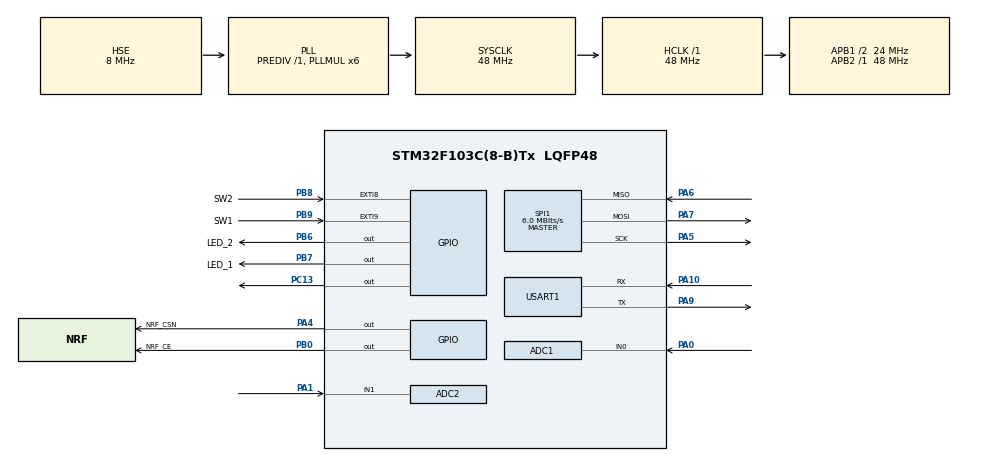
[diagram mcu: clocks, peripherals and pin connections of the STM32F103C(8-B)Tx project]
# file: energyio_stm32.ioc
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ADC1.Channel-11\#ChannelRegularConversion=ADC_CHANNEL_0
ADC1.NbrOfConversionFlag=1
ADC1.Rank-11\#ChannelRegularConversion=1
ADC1.SamplingTime-11\#ChannelRegularConversion=ADC_SAMPLETIME_71CYCLES_5
ADC1.master=1
ADC2.Channel-1\#ChannelRegularConversion=ADC_CHANNEL_1
ADC2.NbrOfConversion=1
ADC2.NbrOfConversionFlag=1
ADC2.Rank-1\#ChannelRegularConversion=1
ADC2.SamplingTime-1\#ChannelRegularConversion=ADC_SAMPLETIME_71CYCLES_5
Mcu.Family=STM32F1
Mcu.Name=STM32F103C(8-B)Tx
Mcu.Package=LQFP48
NVIC.ADC1_2_IRQn=true\:0\:0\:false\:false\:true\:true\:true
NVIC.EXTI9_5_IRQn=true\:0\:0\:false\:false\:true\:true\:true
NVIC.PriorityGroup=NVIC_PRIORITYGROUP_4
NVIC.TIM2_IRQn=true\:0\:0\:false\:false\:true\:true\:true
PA0-WKUP.Signal=ADCx_IN0
PA1.Signal=ADCx_IN1
PA10.Mode=Asynchronous
PA10.Signal=USART1_RX
PA13.Mode=Serial_Wire
PA13.Signal=SYS_JTMS-SWDIO
PA14.Mode=Serial_Wire
PA14.Signal=SYS_JTCK-SWCLK
PA4.GPIO_Label=NRF_CSN
PA4.Signal=GPIO_Output
PA5.Mode=Full_Duplex_Master
PA5.Signal=SPI1_SCK
PA6.Mode=Full_Duplex_Master
PA6.Signal=SPI1_MISO
PA7.Mode=Full_Duplex_Master
PA7.Signal=SPI1_MOSI
PA9.Mode=Asynchronous
PA9.Signal=USART1_TX
PB0.GPIO_Label=NRF_CE
PB0.Signal=GPIO_Output
PB6.GPIO_Label=LED_2
PB6.PinState=GPIO_PIN_SET
PB6.Signal=GPIO_Output
PB7.GPIO_Label=LED_1
PB7.PinState=GPIO_PIN_SET
PB7.Signal=GPIO_Output
PB8.GPIO_Label=SW2
PB8.GPIO_ModeDefaultEXTI=GPIO_MODE_IT_FALLING
PB8.GPIO_PuPd=GPIO_PULLUP
PB8.Signal=GPXTI8
PB9.GPIO_Label=SW1
PB9.GPIO_ModeDefaultEXTI=GPIO_MODE_IT_FALLING
PB9.GPIO_PuPd=GPIO_PULLUP
PB9.Signal=GPXTI9
PC13-TAMPER-RTC.Signal=GPIO_Output
PD0-OSC_IN.Mode=HSE-External-Oscillator
PD0-OSC_IN.Signal=RCC_OSC_IN
PD1-OSC_OUT.Mode=HSE-External-Oscillator
PD1-OSC_OUT.Signal=RCC_OSC_OUT
ProjectManager.HeapSize=0x200
ProjectManager.StackSize=0x400
ProjectManager.TargetToolchain=STM32CubeIDE
RCC.ADCPresc=RCC_ADCPCLK2_DIV4
RCC.AHBFreq_Value=48000000
RCC.APB1CLKDivider=RCC_HCLK_DIV2
RCC.APB1Freq_Value=24000000
RCC.APB1TimFreq_Value=48000000
RCC.APB2Freq_Value=48000000
RCC.APB2TimFreq_Value=48000000
RCC.HCLKFreq_Value=48000000
RCC.PLLMUL=RCC_PLL_MUL6
RCC.PLLSourceVirtual=RCC_PLLSOURCE_HSE
RCC.SYSCLKFreq_VALUE=48000000
RCC.SYSCLKSource=RCC_SYSCLKSOURCE_PLLCLK
RCC.USBFreq_Value=48000000
SH.ADCx_IN0.0=ADC1_IN0,IN0
SH.ADCx_IN1.0=ADC2_IN1,IN1
SH.ADCx_IN1.1=ADC1_IN1
SPI1.BaudRatePrescaler=SPI_BAUDRATEPRESCALER_8
SPI1.CRCCalculation=SPI_CRCCALCULATION_DISABLE
SPI1.CalculateBaudRate=6.0 MBits/s
SPI1.DataSize=SPI_DATASIZE_8BIT
SPI1.Direction=SPI_DIRECTION_2LINES
SPI1.Mode=SPI_MODE_MASTER
SPI1.VirtualType=VM_MASTER
TIM2.AutoReloadPreload=TIM_AUTORELOAD_PRELOAD_DISABLE
TIM2.ClockDivision=TIM_CLOCKDIVISION_DIV1
TIM2.Period=6250-1
TIM2.Prescaler=0
USART1.VirtualMode=VM_ASYNC
VP_TIM2_VS_ClockSourceINT.Mode=Internal
board=custom

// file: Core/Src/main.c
/* USER CODE BEGIN Header */
/**
 ******************************************************************************
 * @file           : main.c
 * @brief          : Main program body
 ******************************************************************************
 * @attention
 *
 * <h2><center>&copy; Copyright (c) 2021 STMicroelectronics.
 * All rights reserved.</center></h2>
 *
 * This software component is licensed by ST under BSD 3-Clause license,
 * the "License"; You may not use this file except in compliance with the
 * License. You may obtain a copy of the License at:
 *                        opensource.org/licenses/BSD-3-Clause
 *
 ******************************************************************************
 */
/* USER CODE END Header */
#include "main.h"

/* USER CODE BEGIN Includes */
#include "stdio.h"
#include "stdlib.h"
#include "math.h"
#include "float.h"
#include "nrf24.h"
#include "messages_stm.pb.h"
#include "pb.h"
#include "pb_encode.h"
#include "pb_decode.h"
#include "pb_common.h"
#include "flash_f1.h"
/* USER CODE END Includes */

/* USER CODE BEGIN PD */
#define ZERO_OFFSET_V 2080
//#define ZERO_OFFSET_I 2088
#define ZERO_OFFSET_I 2135
#define ADC_TO_V_STEP 0.2022
#define ADC_TO_I_STEP 0.0113
#define SAMPLES_PER_CYCLE 128
#define ONE_SECOND 60
#define HALF_SECOND 30

#define FLASH_PAGE_ADDR 0x0801FC00
/* USER CODE END PD */

ADC_HandleTypeDef hadc1;
ADC_HandleTypeDef hadc2;

SPI_HandleTypeDef hspi1;

TIM_HandleTypeDef htim2;

UART_HandleTypeDef huart1;

/* USER CODE BEGIN PV */
uint32_t actual_tick[128], actual_sample = 0, j = 0;
float voltage_sample[SAMPLES_PER_CYCLE], v_rms_cycle = 0, v_rms = 0, v_rms_cycles_vector[ONE_SECOND];
float current_sample[SAMPLES_PER_CYCLE], i_rms_cycle = 0, i_rms = 0, i_rms_cycles_vector[ONE_SECOND];
int pot_ativa_sample[SAMPLES_PER_CYCLE], pot_ativa_cycle = 0, pot_ativa = 0, pot_ativa_cycles_vector[ONE_SECOND];
int pot_aparente = 0, pot_aparente_cycle = 0, pot_aparente_cycles_vector[SAMPLES_PER_CYCLE];
int ready_values = 0;

float aux_v_rms, aux_i_rms = 0;
int aux_pot_ativa, aux_pot_aparente, samples = 0;

uint8_t master_address[6] = {"HUB01"};
uint8_t sensor_address[6] = {"0NODE"};
uint8_t pairing_address[6] = {"1NODE"};
char sensor_serial[6] = "EA101";
bool pairingMode = false;
uint8_t data[32];
uint8_t length;

/* USER CODE END PV */

void SystemClock_Config(void);
static void MX_GPIO_Init(void);
static void MX_USART1_UART_Init(void);
static void MX_ADC1_Init(void);
static void MX_TIM2_Init(void);
static void MX_ADC2_Init(void);
static void MX_SPI1_Init(void);
static bool nrf_report();
static bool nrf_pairing();
static void nrf_pairing_report(char *_serial, int _channel);
/* USER CODE BEGIN PFP */
void verify_offset();
void r_PairingMessage(uint8_t *_data, int _data_len);
void w_message(double v_rms, double i_rms, int pot_at, int pot_ap, int samples);
/* USER CODE END PFP */

/* USER CODE BEGIN 0 */
int _write(int file, char *ptr, int len)
{
  /* Implement your write code here, this is used by puts and printf for example */
  HAL_UART_Transmit(&huart1, (uint8_t *)ptr, len, 10);

  return len;
}
/* USER CODE END 0 */

int main(void)
{
  /* USER CODE BEGIN 1 */
  /*Buffers flash*/
  //	uint8_t buff_write_flash[16] = {1, 2, 3, 4, 5, 6, 7, 8, 9, 10, 11, 12, 13, 14, 15, 16};
  //	uint8_t buff_read_flash[16];
  /* USER CODE END 1 */

  /* MCU Configuration--------------------------------------------------------*/

  /* Reset of all peripherals, Initializes the Flash interface and the Systick. */
  HAL_Init();

  /* Configure the system clock */
  SystemClock_Config();

  /* Initialize all configured peripherals */
  MX_GPIO_Init();
  MX_USART1_UART_Init();
  MX_ADC1_Init();
  MX_TIM2_Init();
  MX_ADC2_Init();
  MX_SPI1_Init();
  /* USER CODE BEGIN 2 */

  if (HAL_ADCEx_Calibration_Start(&hadc1) != HAL_OK)
  {
    printf("Falha ao calibrar o ADC1");
  }
  HAL_Delay(10);

  if (HAL_ADCEx_Calibration_Start(&hadc2) != HAL_OK)
  {
    printf("Falha ao calibrar o ADC2");
  }
  HAL_Delay(10);

  HAL_TIM_Base_Start_IT(&htim2);

  /* Operações Flash*/
  //  Flash_Write_Data(FLASH_PAGE_ADDR , (uint32_t*)buff_write_flash, (sizeof(buff_write_flash)/sizeof(int)));
//    Flash_Read_Data(FLASH_PAGE_ADDR , (uint32_t*)sensor_address, (sizeof(sensor_address)/sizeof(int)));

  NRF24_begin(GPIOB, NRF_CSN_Pin, NRF_CE_Pin, hspi1);

  NRF24_openWritingPipe(sensor_address, sizeof(sensor_address) - 1);

  NRF24_openReadingPipe(1, master_address, sizeof(master_address) - 1);
  //  NRF24_openReadingPipe(2, node_address[1], sizeof(node_address[1]) - 1);

  NRF24_stopListening();

  printRadioSettings();

  printf("END SETUP\n\n");

  /* USER CODE END 2 */

  /* Infinite loop */
  /* USER CODE BEGIN WHILE */
  while (1)
  {
    if (pairingMode)
    {
      NRF24_startListening();
      HAL_Delay(500);
      unsigned long start = HAL_GetTick();
      bool aux = false;
      while (aux != true && (unsigned long)(HAL_GetTick()) - start <= 15000)
      {
        if (nrf_pairing())
        {
          printf("\n\n[PAIRING] report");
          nrf_pairing_report(sensor_serial, 69);
          aux = true;
        }
        HAL_GPIO_TogglePin(LED_2_GPIO_Port, LED_2_Pin);
        HAL_Delay(50);
      }
      if ((unsigned long)(HAL_GetTick()) - start > 15000)
      {
        printf("\n\n[PAIRING] Timeout\n\n");
      }
      NRF24_stopListening();
      NRF24_openWritingPipe(pairing_address, sizeof(pairing_address) - 1);
      HAL_Delay(1500);
      NRF24_stopListening();
      start = HAL_GetTick();
      while (aux == true && (unsigned long)(HAL_GetTick()) - start <= 15000)
      {
        if (nrf_report())
        {
          aux = false;
          printf("\n\n[PAIRING] Success\n\n");
        }
        HAL_GPIO_TogglePin(LED_2_GPIO_Port, LED_2_Pin);
        HAL_Delay(250);
      }
      if ((unsigned long)(HAL_GetTick()) - start > 15000)
      {
        printf("\n\n[PAIRING] Timeout\n\n");
      }

      pairingMode = false;
      HAL_GPIO_WritePin(LED_2_GPIO_Port, LED_2_Pin, GPIO_PIN_SET);
      NRF24_stopListening();
      NRF24_openWritingPipe(sensor_address, sizeof(sensor_address) - 1);
      HAL_Delay(1500);
      NRF24_stopListening();
    }

    HAL_GPIO_TogglePin(GPIOC, GPIO_PIN_13);

    verify_offset();

    if (ready_values)
    {
      printf("Tensao: %.1f  Corrente:%.3f  "
             "Pot.Ativa:%d  Pot Aparente:%d Msgs acumuladas:%d\r\n",
             v_rms, i_rms, pot_ativa, pot_aparente, samples);
      if (samples == 0)
        w_message(v_rms, i_rms, pot_ativa, pot_aparente, samples);
      else
        w_message(aux_v_rms, aux_i_rms, aux_pot_ativa, aux_pot_aparente, samples);

      unsigned long start = HAL_GetTick();
      bool aux = false;
      while (aux == false && (unsigned long)(HAL_GetTick()) - start <= 500)
      {
        if (nrf_report())
        {
          aux_v_rms = 0;
          aux_i_rms = 0;
          aux_pot_aparente = 0;
          aux_pot_ativa = 0;
          samples = 0;
          aux = true;
          HAL_GPIO_TogglePin(LED_1_GPIO_Port, LED_1_Pin);
        }
      }
      if ((unsigned long)(HAL_GetTick()) - start > 500)
      {
        printf("\n[TX] Timeout\n");
        aux_v_rms += v_rms;
        aux_i_rms += i_rms;
        aux_pot_aparente += pot_aparente;
        aux_pot_ativa += pot_ativa;
        samples++;
      }
      ready_values = 0;
    }

    HAL_Delay(10);

    // r_message(data, sizeof(data));

    //    NRF24_startListening();
    //    HAL_Delay(1000);
    //    listen();

    //    HAL_Delay(1000);

    //    printf("payload size %d", NRF24_getPayloadSize());

    /*

*/

    /* USER CODE END WHILE */

  }
}

void SystemClock_Config(void)
{
  RCC_OscInitTypeDef RCC_OscInitStruct = {0};
  RCC_ClkInitTypeDef RCC_ClkInitStruct = {0};
  RCC_PeriphCLKInitTypeDef PeriphClkInit = {0};

  /** Initializes the RCC Oscillators according to the specified parameters
   * in the RCC_OscInitTypeDef structure.
   */
  RCC_OscInitStruct.OscillatorType = RCC_OSCILLATORTYPE_HSE;
  RCC_OscInitStruct.HSEState = RCC_HSE_ON;
  RCC_OscInitStruct.HSEPredivValue = RCC_HSE_PREDIV_DIV1;
  RCC_OscInitStruct.HSIState = RCC_HSI_ON;
  RCC_OscInitStruct.PLL.PLLState = RCC_PLL_ON;
  RCC_OscInitStruct.PLL.PLLSource = RCC_PLLSOURCE_HSE;
  RCC_OscInitStruct.PLL.PLLMUL = RCC_PLL_MUL6;
  if (HAL_RCC_OscConfig(&RCC_OscInitStruct) != HAL_OK)
  {
    Error_Handler();
  }
  /** Initializes the CPU, AHB and APB buses clocks
   */
  RCC_ClkInitStruct.ClockType = RCC_CLOCKTYPE_HCLK | RCC_CLOCKTYPE_SYSCLK | RCC_CLOCKTYPE_PCLK1 | RCC_CLOCKTYPE_PCLK2;
  RCC_ClkInitStruct.SYSCLKSource = RCC_SYSCLKSOURCE_PLLCLK;
  RCC_ClkInitStruct.AHBCLKDivider = RCC_SYSCLK_DIV1;
  RCC_ClkInitStruct.APB1CLKDivider = RCC_HCLK_DIV2;
  RCC_ClkInitStruct.APB2CLKDivider = RCC_HCLK_DIV1;

  if (HAL_RCC_ClockConfig(&RCC_ClkInitStruct, FLASH_LATENCY_1) != HAL_OK)
  {
    Error_Handler();
  }
  PeriphClkInit.PeriphClockSelection = RCC_PERIPHCLK_ADC;
  PeriphClkInit.AdcClockSelection = RCC_ADCPCLK2_DIV4;
  if (HAL_RCCEx_PeriphCLKConfig(&PeriphClkInit) != HAL_OK)
  {
    Error_Handler();
  }
}

static void MX_ADC1_Init(void)
{

  ADC_ChannelConfTypeDef sConfig = {0};

  /** Common config
   */
  hadc1.Instance = ADC1;
  hadc1.Init.ScanConvMode = ADC_SCAN_DISABLE;
  hadc1.Init.ContinuousConvMode = DISABLE;
  hadc1.Init.DiscontinuousConvMode = DISABLE;
  hadc1.Init.ExternalTrigConv = ADC_SOFTWARE_START;
  hadc1.Init.DataAlign = ADC_DATAALIGN_RIGHT;
  hadc1.Init.NbrOfConversion = 1;
  if (HAL_ADC_Init(&hadc1) != HAL_OK)
  {
    Error_Handler();
  }
  /** Configure Regular Channel
   */
  sConfig.Channel = ADC_CHANNEL_0;
  sConfig.Rank = ADC_REGULAR_RANK_1;
  sConfig.SamplingTime = ADC_SAMPLETIME_71CYCLES_5;
  if (HAL_ADC_ConfigChannel(&hadc1, &sConfig) != HAL_OK)
  {
    Error_Handler();
  }
}

static void MX_ADC2_Init(void)
{

  ADC_ChannelConfTypeDef sConfig = {0};

  /** Common config
   */
  hadc2.Instance = ADC2;
  hadc2.Init.ScanConvMode = ADC_SCAN_DISABLE;
  hadc2.Init.ContinuousConvMode = DISABLE;
  hadc2.Init.DiscontinuousConvMode = DISABLE;
  hadc2.Init.ExternalTrigConv = ADC_SOFTWARE_START;
  hadc2.Init.DataAlign = ADC_DATAALIGN_RIGHT;
  hadc2.Init.NbrOfConversion = 1;
  if (HAL_ADC_Init(&hadc2) != HAL_OK)
  {
    Error_Handler();
  }
  /** Configure Regular Channel
   */
  sConfig.Channel = ADC_CHANNEL_1;
  sConfig.Rank = ADC_REGULAR_RANK_1;
  sConfig.SamplingTime = ADC_SAMPLETIME_71CYCLES_5;
  if (HAL_ADC_ConfigChannel(&hadc2, &sConfig) != HAL_OK)
  {
    Error_Handler();
  }
}

static void MX_SPI1_Init(void)
{

  /* SPI1 parameter configuration*/
  hspi1.Instance = SPI1;
  hspi1.Init.Mode = SPI_MODE_MASTER;
  hspi1.Init.Direction = SPI_DIRECTION_2LINES;
  hspi1.Init.DataSize = SPI_DATASIZE_8BIT;
  hspi1.Init.CLKPolarity = SPI_POLARITY_LOW;
  hspi1.Init.CLKPhase = SPI_PHASE_1EDGE;
  hspi1.Init.NSS = SPI_NSS_SOFT;
  hspi1.Init.BaudRatePrescaler = SPI_BAUDRATEPRESCALER_8;
  hspi1.Init.FirstBit = SPI_FIRSTBIT_MSB;
  hspi1.Init.TIMode = SPI_TIMODE_DISABLE;
  hspi1.Init.CRCCalculation = SPI_CRCCALCULATION_DISABLE;
  hspi1.Init.CRCPolynomial = 10;
  if (HAL_SPI_Init(&hspi1) != HAL_OK)
  {
    Error_Handler();
  }
}

static void MX_TIM2_Init(void)
{

  TIM_ClockConfigTypeDef sClockSourceConfig = {0};
  TIM_MasterConfigTypeDef sMasterConfig = {0};

  htim2.Instance = TIM2;
  htim2.Init.Prescaler = 0;
  htim2.Init.CounterMode = TIM_COUNTERMODE_UP;
  htim2.Init.Period = 6250 - 1;
  htim2.Init.ClockDivision = TIM_CLOCKDIVISION_DIV1;
  htim2.Init.AutoReloadPreload = TIM_AUTORELOAD_PRELOAD_DISABLE;
  if (HAL_TIM_Base_Init(&htim2) != HAL_OK)
  {
    Error_Handler();
  }
  sClockSourceConfig.ClockSource = TIM_CLOCKSOURCE_INTERNAL;
  if (HAL_TIM_ConfigClockSource(&htim2, &sClockSourceConfig) != HAL_OK)
  {
    Error_Handler();
  }
  sMasterConfig.MasterOutputTrigger = TIM_TRGO_RESET;
  sMasterConfig.MasterSlaveMode = TIM_MASTERSLAVEMODE_DISABLE;
  if (HAL_TIMEx_MasterConfigSynchronization(&htim2, &sMasterConfig) != HAL_OK)
  {
    Error_Handler();
  }
}

static void MX_USART1_UART_Init(void)
{

  huart1.Instance = USART1;
  huart1.Init.BaudRate = 115200;
  huart1.Init.WordLength = UART_WORDLENGTH_8B;
  huart1.Init.StopBits = UART_STOPBITS_1;
  huart1.Init.Parity = UART_PARITY_NONE;
  huart1.Init.Mode = UART_MODE_TX_RX;
  huart1.Init.HwFlowCtl = UART_HWCONTROL_NONE;
  huart1.Init.OverSampling = UART_OVERSAMPLING_16;
  if (HAL_UART_Init(&huart1) != HAL_OK)
  {
    Error_Handler();
  }
}

static void MX_GPIO_Init(void)
{
  GPIO_InitTypeDef GPIO_InitStruct = {0};

  /* GPIO Ports Clock Enable */
  __HAL_RCC_GPIOC_CLK_ENABLE();
  __HAL_RCC_GPIOD_CLK_ENABLE();
  __HAL_RCC_GPIOA_CLK_ENABLE();
  __HAL_RCC_GPIOB_CLK_ENABLE();

  /*Configure GPIO pin Output Level */
  HAL_GPIO_WritePin(GPIOC, GPIO_PIN_13, GPIO_PIN_RESET);

  /*Configure GPIO pin Output Level */
  HAL_GPIO_WritePin(NRF_CSN_GPIO_Port, NRF_CSN_Pin, GPIO_PIN_RESET);

  /*Configure GPIO pin Output Level */
  HAL_GPIO_WritePin(NRF_CE_GPIO_Port, NRF_CE_Pin, GPIO_PIN_RESET);

  /*Configure GPIO pin Output Level */
  HAL_GPIO_WritePin(GPIOB, LED_2_Pin | LED_1_Pin, GPIO_PIN_SET);

  /*Configure GPIO pin : PC13 */
  GPIO_InitStruct.Pin = GPIO_PIN_13;
  GPIO_InitStruct.Mode = GPIO_MODE_OUTPUT_PP;
  GPIO_InitStruct.Pull = GPIO_NOPULL;
  GPIO_InitStruct.Speed = GPIO_SPEED_FREQ_LOW;
  HAL_GPIO_Init(GPIOC, &GPIO_InitStruct);

  /*Configure GPIO pin : NRF_CSN_Pin */
  GPIO_InitStruct.Pin = NRF_CSN_Pin;
  GPIO_InitStruct.Mode = GPIO_MODE_OUTPUT_PP;
  GPIO_InitStruct.Pull = GPIO_NOPULL;
  GPIO_InitStruct.Speed = GPIO_SPEED_FREQ_LOW;
  HAL_GPIO_Init(NRF_CSN_GPIO_Port, &GPIO_InitStruct);

  /*Configure GPIO pins : NRF_CE_Pin LED_2_Pin LED_1_Pin */
  GPIO_InitStruct.Pin = NRF_CE_Pin | LED_2_Pin | LED_1_Pin;
  GPIO_InitStruct.Mode = GPIO_MODE_OUTPUT_PP;
  GPIO_InitStruct.Pull = GPIO_NOPULL;
  GPIO_InitStruct.Speed = GPIO_SPEED_FREQ_LOW;
  HAL_GPIO_Init(GPIOB, &GPIO_InitStruct);

  /*Configure GPIO pins : SW2_Pin SW1_Pin */
  GPIO_InitStruct.Pin = SW2_Pin | SW1_Pin;
  GPIO_InitStruct.Mode = GPIO_MODE_IT_FALLING;
  GPIO_InitStruct.Pull = GPIO_PULLUP;
  HAL_GPIO_Init(GPIOB, &GPIO_InitStruct);

  /* EXTI interrupt init*/
  HAL_NVIC_SetPriority(EXTI9_5_IRQn, 0, 0);
  HAL_NVIC_EnableIRQ(EXTI9_5_IRQn);
}

/* USER CODE BEGIN 4 */
void HAL_TIM_PeriodElapsedCallback(TIM_HandleTypeDef *htim)
{

  int count;
  //  static teste_ini = 0;

  actual_tick[actual_sample] = HAL_GetTick();

  /* Le os ADCs e converte para o valor real */
  current_sample[actual_sample] = (abs((HAL_ADC_GetValue(&hadc1) - ZERO_OFFSET_I)) * ADC_TO_I_STEP);
  voltage_sample[actual_sample] = (abs((HAL_ADC_GetValue(&hadc2) - ZERO_OFFSET_V)) * ADC_TO_V_STEP);

  /* Potencia ativa é a média ponto a ponto de V.I*/
  pot_ativa_sample[actual_sample] = current_sample[actual_sample] * voltage_sample[actual_sample];

  /* Soma quadratica dos pontos */
  v_rms_cycle += pow(voltage_sample[actual_sample], 2);
  i_rms_cycle += pow(current_sample[actual_sample], 2);
  pot_ativa_cycle += pot_ativa_sample[actual_sample];

  actual_sample++;

  /* Calcula valores no final do ciclo*/
  if (actual_sample == SAMPLES_PER_CYCLE)
  {

    v_rms_cycle = sqrt((v_rms_cycle / SAMPLES_PER_CYCLE));
    i_rms_cycle = sqrt((i_rms_cycle / SAMPLES_PER_CYCLE));
    pot_ativa_cycle = (pot_ativa_cycle / SAMPLES_PER_CYCLE);
    pot_aparente_cycle = v_rms_cycle * i_rms_cycle;

    v_rms_cycles_vector[j] = v_rms_cycle;
    i_rms_cycles_vector[j] = i_rms_cycle;
    pot_ativa_cycles_vector[j] = pot_ativa_cycle;
    pot_aparente_cycles_vector[j] = pot_aparente_cycle;
    j++;

    i_rms_cycle = v_rms_cycle = actual_sample = 0;
  }

  /* Média dos ciclos*/
  if (j == ONE_SECOND)
  {
    v_rms = i_rms = 0;
    for (count = 0; count < ONE_SECOND; count++)
    {
      v_rms += v_rms_cycles_vector[count];
      i_rms += i_rms_cycles_vector[count];
      pot_ativa += pot_ativa_cycles_vector[count];
      pot_aparente += pot_aparente_cycles_vector[count];
    }
    v_rms = v_rms / ONE_SECOND;
    i_rms = i_rms / ONE_SECOND;
    pot_ativa = pot_ativa / ONE_SECOND;
    pot_aparente = pot_aparente / ONE_SECOND;

    j = 0;

    /* Indica disponibilidade das novas médias*/
    ready_values = 1;
  }

  /*Inicia as conversoes*/
  /*ADC Corrente*/
  HAL_ADC_Start_IT(&hadc1);

  /*ADC Tensao*/
  HAL_ADC_Start_IT(&hadc2);
}

void verify_offset(){

    if (v_rms <= 20) {
    	v_rms = 0; pot_ativa = 0; pot_aparente = 0;
    }
    if (i_rms < 0.14) {
    	i_rms = 0; pot_ativa = 0; pot_aparente = 0;
    }

}

void HAL_ADC_ConvCpltCallback(ADC_HandleTypeDef *hadc)
{
}

unsigned long last_micros;
void HAL_GPIO_EXTI_Callback(uint16_t GPIO_Pin)
{
  unsigned long debouncing_time = 200; // Debouncing Time in Milliseconds
  if (GPIO_Pin == SW1_Pin)
  {
    if ((HAL_GetTick() - last_micros >= debouncing_time))
    {
      printf("\n\n\nRESET\n\n\n");
      sensor_address[0] = "00000";
      Flash_Write_Data(FLASH_PAGE_ADDR , (uint32_t*)sensor_address, (sizeof(sensor_address)/sizeof(int)));
      last_micros = HAL_GetTick();
    }
  }
  if (GPIO_Pin == SW2_Pin)
  {
    if ((HAL_GetTick() - last_micros >= debouncing_time))
    {
      printf("\n\n\nPAIRING MODE ON\n\n\n");
      pairingMode = true;
      last_micros = HAL_GetTick();
    }
  }
}

void w_message(double v_rms, double i_rms, int pot_at, int pot_ap, int samples)
{
  uint8_t buffer[32];
  EnergySensorReport msg = EnergySensorReport_init_zero;

  pb_ostream_t stream = pb_ostream_from_buffer(buffer, sizeof(buffer));

  msg.v_rms = v_rms;
  msg.i_rms = i_rms;
  msg.pot_aparente = pot_ap;
  msg.pot_ativa = pot_at;
  msg.samples = samples;
  pb_encode(&stream, EnergySensorReport_fields, &msg);

  printf("MSG SERIALIZED : ");
  for (int i = 0; i < stream.bytes_written; i++)
  {
    data[i] = buffer[i];
    printf("%02X", data[i]);
  }
  printf("\n");

  data[31] = (uint8_t)stream.bytes_written;
}

bool nrf_report()
{
  unsigned long start_time = HAL_GetTick();
  bool reported = NRF24_write(&data, sizeof(data)); // transmit & save the report
  unsigned long end_time = HAL_GetTick();

  if (reported)
  {
    printf("Transmission successful!"); // payload was delivered
    printf("Tranmission time %lu ms\nSent: ", end_time - start_time);
    for (int i = 0; i < 32; i++)
    {
      printf("%02X", data[i]);
    }
    printf("\n");
  }
  return reported;
}

void nrf_pairing_report(char *_serial, int _channel)
{
  uint8_t buffer[32];
  PairingMessage msg = PairingMessage_init_zero;

  pb_ostream_t stream = pb_ostream_from_buffer(buffer, sizeof(buffer));

  strcpy(msg.serial, _serial);
  msg.channel = _channel;
  pb_encode(&stream, PairingMessage_fields, &msg);

  printf("\nPairing Msg : ");
  for (int i = 0; i < stream.bytes_written; i++)
  {
    data[i] = buffer[i];
    printf("%02X", data[i]);
  }
  printf("\n");

  data[31] = (uint8_t)stream.bytes_written;
}

bool nrf_pairing()
{
  uint8_t pipe;
  if (NRF24_availablePipe(&pipe))
  {
    uint8_t bytes = NRF24_getPayloadSize(); // get the size of the payload
    NRF24_read(&data, bytes);               // fetch payload from FIFO
    printf("Received %d \n", bytes);        // print the size of the payload
    printf(" bytes on pipe %d \n", pipe);
    for (int i = 0; i < bytes; i++)
    {
      printf("%02X", data[i]);
    }
    printf("\n");
    printf("\n");
    r_PairingMessage(data, bytes);
    printf("\n");
    return true;
  }
  return false;
}

void r_PairingMessage(uint8_t *_data, int _data_len)
{
  PairingMessage msg = PairingMessage_init_zero;
  pb_istream_t stream = pb_istream_from_buffer(_data, _data_len);
  pb_decode(&stream, PairingMessage_fields, &msg);

  printf("DECODED: Serial: %s  Channel: %d\r\n", msg.serial, (int)msg.channel);
  for(int i = 0; i<6;i++)
	  sensor_address[i] = (uint8_t)msg.serial[i];
  Flash_Write_Data(FLASH_PAGE_ADDR , (uint32_t*)sensor_address, (sizeof(sensor_address)/sizeof(int)));
}

/* USER CODE END 4 */

void Error_Handler(void)
{
  __disable_irq();
  while (1)
  {
  }
}

/************************ (C) COPYRIGHT STMicroelectronics *****END OF FILE****/
